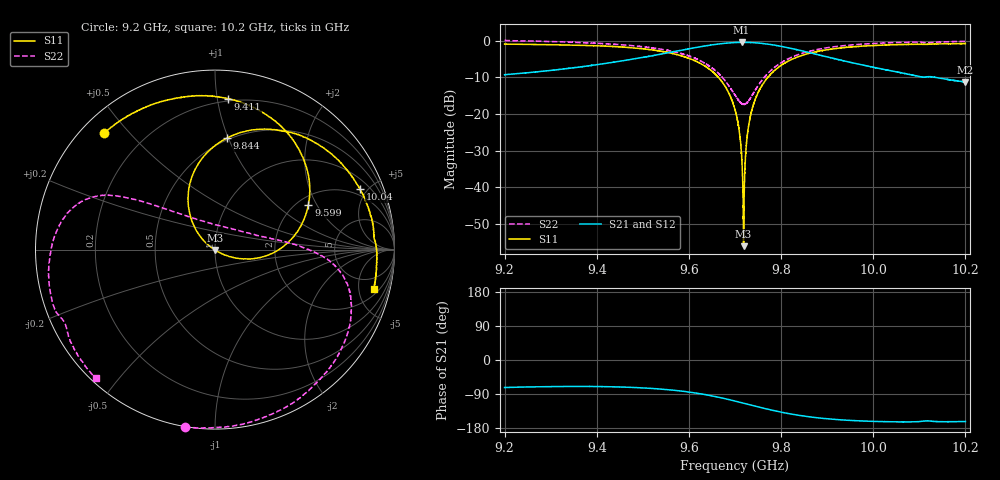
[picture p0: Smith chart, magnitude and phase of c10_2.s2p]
!Agilent Technologies,N5242A,MY51221714,A.09.90.19
!Agilent N5242A: A.09.90.19
!Date: Tuesday, March 26, 2024 15:41:09
!Correction: S11(Full 2 Port(1,2))
!S21(Full 2 Port(1,2))
!S12(Full 2 Port(1,2))
!S22(Full 2 Port(1,2))
!S2P File: Measurements: S11, S21, S12, S22:
# Hz S  dB  R 50
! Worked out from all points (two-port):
!   16001 points, 9.2 GHz to 10.2 GHz, reference 50 ohm
!   highest |S21| = -0.47 dB at 9.714 GHz (marker M1); lowest = -11.3 dB at 10.2 GHz (marker M2)
!   |S21| within 3 dB of the highest: 9.547885 GHz to 9.548369 GHz (484.5 kHz wide, 0.00507 % of centre); 9.548 GHz to 9.868 GHz (319.3 MHz wide, 3.29 % of centre)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
!   lowest |S11| = -56.1 dB at 9.719 GHz (marker M3), VSWR 1.00, Z = 49.9 - j0.137 ohm
!   |S11| at or under -10 dB: 9.664 GHz to 9.771 GHz (107.6 MHz wide, 1.11 % of centre); 9.771544 GHz to 9.771575 GHz (30.49 kHz wide, 0.000312 % of centre)
!   |S22| runs from -17.5 to 0.0 dB; largest |S21 - S12| = 0.011
!   S11 on the Smith chart (normalised r, x): 9.2 GHz: 0.07, +0.43; 9.411 GHz: 0.18, +1.07; 9.599 GHz: 2.28, +1.70; 9.844 GHz: 0.49, +0.99; 10.04 GHz: 1.57, +4.48; 10.2 GHz: 2.79, -7.21
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9.2e9  -0.96 133.6  -9.31 -72.6  -9.29 -73.3  0.03 -99.4
9.366688e9  -1.28 96.3  -7.14 -69.9  -7.13 -70.5  -0.57 -54.6
9.411188e9  -1.48 85.1  -6.37 -70.2  -6.36 -70.8  -0.80 -43.2
9.533375e9  -2.80 49.6  -3.83 -76.1  -3.82 -76.7  -2.21 -16.0
9.598562e9  -4.78 25.6  -2.29 -84.4  -2.27 -84.9  -4.13 -4.6
9.663562e9  -9.96 -3.8  -0.94 -98.1  -0.94 -98.6  -8.86 8.3
9.7e9  -18.82 -23.3  -0.54 -108.3  -0.53 -108.9  -14.82 34.1
9.7095e9  -24.95 -29.4  -0.50 -111.3  -0.49 -111.7  -16.50 51.0
9.714188e9  -31.19 -34.9  -0.47 -112.7  -0.47 -113.1  -17.10 62.3
9.718562e9  -56.06 -119.6  -0.49 -114.0  -0.47 -114.5  -17.36 74.1
9.721812e9  -33.89 151.4  -0.48 -114.9  -0.48 -115.5  -17.30 82.8
9.725938e9  -26.69 146.4  -0.50 -116.2  -0.48 -116.8  -16.94 93.6
9.730875e9  -22.25 142.1  -0.52 -117.7  -0.49 -118.3  -16.17 104.6
9.749625e9  -14.34 130.1  -0.66 -123.5  -0.65 -124.1  -12.36 129.4
9.787375e9  -7.99 110.3  -1.27 -134.3  -1.27 -134.9  -7.14 144.7
9.844188e9  -4.10 84.0  -2.75 -147.0  -2.77 -147.5  -3.54 153.0
9.866688e9  -3.29 74.9  -3.43 -150.8  -3.44 -151.2  -2.76 156.0
9.934375e9  -1.93 51.4  -5.47 -158.3  -5.48 -158.8  -1.39 166.8
1.003338e10  -1.18 23.7  -8.12 -162.8  -8.12 -163.4  -0.61 -173.3
1.003762e10  -1.17 22.6  -8.22 -162.9  -8.22 -163.4  -0.58 -172.3
1.01995e10  -0.81 -13.8  -11.31 -162.4  -11.28 -162.9  -0.21 -132.9
1.02e10  -0.80 -13.8  -11.29 -162.4  -11.30 -162.8  -0.21 -132.8
